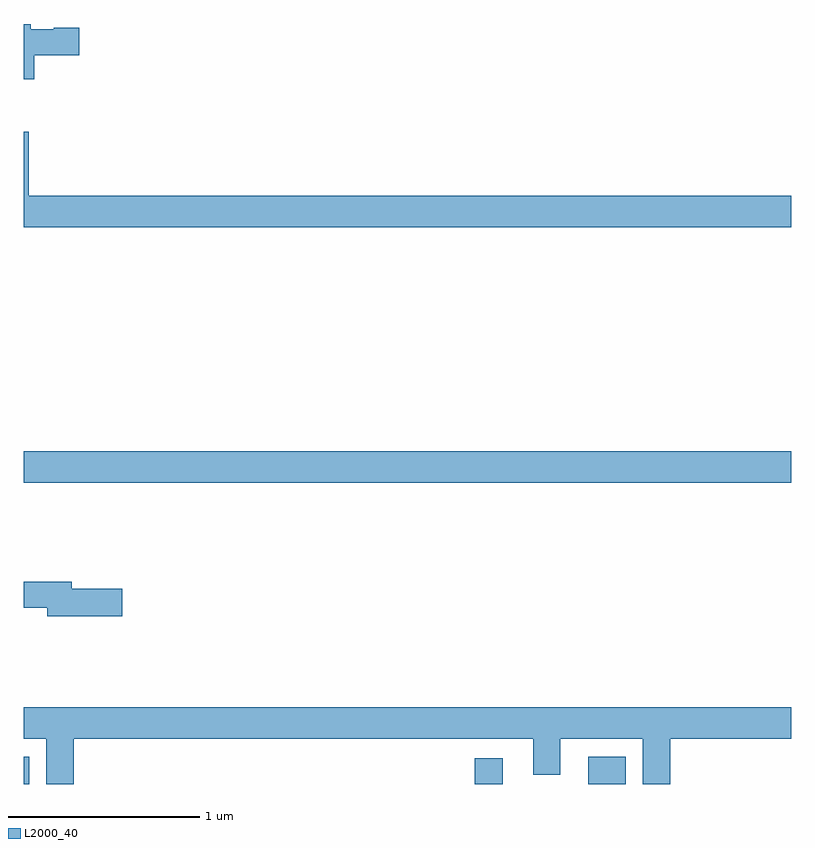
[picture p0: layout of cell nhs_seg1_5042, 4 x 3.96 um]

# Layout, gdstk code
import gdstk
lib = gdstk.Library(unit=1e-6, precision=1e-09)
def R(c, l, rs):  # rectangles x0, y0, x1, y1
    for r in rs: c.add(gdstk.rectangle(r[:2], r[2:], *l))
def P(c, l, *ps):  # polygons
    for p in ps: c.add(gdstk.Polygon(p, *l))
L2000_40 = (2000, 40)

nhs_seg1_5042 = lib.new_cell('nhs_seg1_5042')
R(nhs_seg1_5042, L2000_40, [(385,514.199,385.029,514.342), (387.35,514.199,387.496,514.333), (387.941,514.199,388.137,514.342), (385,515.768,389,515.932)])
P(nhs_seg1_5042, L2000_40, [(385.055,517.996),(385.291,517.996),(385.291,518.139),(385.158,518.139),(385.158,518.131),(385.038,518.131),(385.038,518.158),(385,518.158),(385,517.871),(385.055,517.871)],
  [(389,517.264),(385.028,517.264),(385.028,517.597),(385,517.597),(385,517.1),(389,517.1)],
  [(385.513,515.216),(385.252,515.216),(385.252,515.252),(385,515.252),(385,515.116),(385.124,515.116),(385.124,515.074),(385.513,515.074)],
  [(385,514.436),(385.118,514.436),(385.118,514.199),(385.262,514.199),(385.262,514.436),(387.656,514.436),(387.656,514.246),(387.796,514.246),(387.796,514.436),(388.226,514.436),(388.226,514.199),(388.37,514.199),(388.37,514.436),(389,514.436),(389,514.6),(385,514.6)])

lib.write_gds('nhs_seg1_5042.gds')
